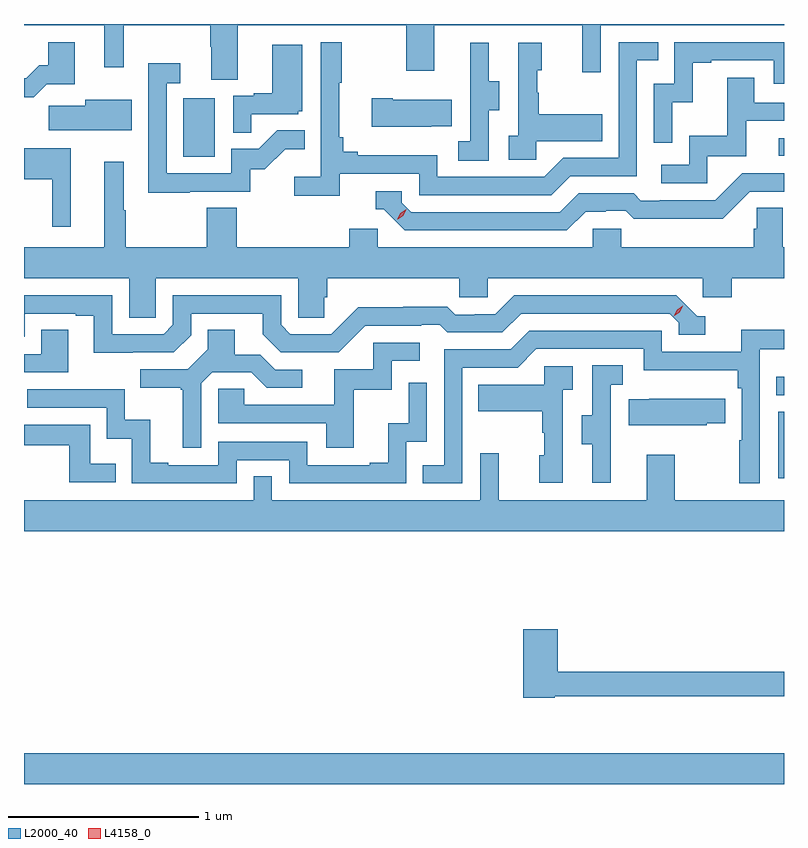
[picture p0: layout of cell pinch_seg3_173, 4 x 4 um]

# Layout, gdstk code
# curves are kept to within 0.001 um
import gdstk
lib = gdstk.Library(unit=1e-6, precision=1e-09)
def R(c, l, rs):  # rectangles x0, y0, x1, y1
    for r in rs: c.add(gdstk.rectangle(r[:2], r[2:], *l))
def P(c, l, *ps):  # polygons
    for p in ps: c.add(gdstk.Polygon(p, *l))
L2000_40 = (2000, 40)
L4158_0 = (4158, 0)

pinch_seg3_173 = lib.new_cell('pinch_seg3_173')
R(pinch_seg3_173, L2000_40, [(997.203,732.887,1001.203,733.048), (1001.174,734.496,1001.203,734.847), (1001.161,734.932,1001.203,735.031), (998.042,736.188,998.206,736.495), (1001.175,736.194,1001.203,736.287)])
P(pinch_seg3_173, L2000_40, [(998.329,736.88),(999.214,736.88),(999.214,736.641),(999.361,736.641),(999.361,736.88),(1000.142,736.88),(1000.142,736.632),(1000.239,736.632),(1000.239,736.88),(1001.203,736.88),(1001.203,736.887),(997.203,736.887),(997.203,736.88),(997.625,736.88),(997.625,736.659),(997.729,736.659),(997.729,736.88),(998.182,736.88),(998.182,736.768),(998.189,736.768),(998.189,736.594),(998.329,736.594)],
  [(997.322,736.571),(997.471,736.571),(997.471,736.792),(997.331,736.792),(997.331,736.669),(997.282,736.669),(997.215,736.602),(997.203,736.602),(997.203,736.502),(997.253,736.502)],
  [(998.864,736.098),(999.282,736.098),(999.282,735.987),(999.979,735.987),(1000.078,736.086),(1000.428,736.086),(1000.428,736.695),(1000.541,736.695),(1000.541,736.791),(1000.332,736.791),(1000.332,736.182),(1000.041,736.182),(999.942,736.083),(999.378,736.083),(999.378,736.195),(998.959,736.195),(998.959,736.214),(998.882,736.214),(998.882,736.291),(998.863,736.291),(998.863,736.579),(998.875,736.579),(998.875,736.792),(998.766,736.792),(998.766,736.084),(998.625,736.084),(998.625,735.982),(998.864,735.982)],
  [(1000.614,736.475),(1000.724,736.475),(1000.724,736.683),(1000.819,736.683),(1000.819,736.695),(1001.148,736.695),(1001.148,736.572),(1001.203,736.572),(1001.203,736.791),(1000.626,736.791),(1000.626,736.572),(1000.518,736.572),(1000.518,736.263),(1000.614,736.263)],
  [(999.648,736.432),(999.703,736.432),(999.703,736.587),(999.649,736.587),(999.649,736.789),(999.551,736.789),(999.551,736.575),(999.552,736.575),(999.552,736.271),(999.489,736.271),(999.489,736.168),(999.648,736.168)],
  [(999.9,736.271),(1000.247,736.271),(1000.247,736.411),(999.913,736.411),(999.913,736.526),(999.903,736.526),(999.903,736.644),(999.928,736.644),(999.928,736.789),(999.804,736.789),(999.804,736.298),(999.753,736.298),(999.753,736.173),(999.9,736.173)],
  [(998.399,736.413),(998.646,736.413),(998.646,736.428),(998.668,736.428),(998.668,736.777),(998.51,736.777),(998.51,736.522),(998.411,736.522),(998.411,736.509),(998.304,736.509),(998.304,736.315),(998.399,736.315)],
  [(998.075,736.005),(998.394,736.005),(998.394,736.122),(998.47,736.122),(998.577,736.229),(998.681,736.229),(998.681,736.328),(998.537,736.328),(998.439,736.23),(998.295,736.23),(998.295,736.101),(997.953,736.101),(997.953,736.575),(998.026,736.575),(998.026,736.681),(997.857,736.681),(997.857,736),(998.075,736)],
  [(1000.8,736.191),(1001.005,736.191),(1001.005,736.377),(1001.203,736.377),(1001.203,736.473),(1001.047,736.473),(1001.047,736.603),(1000.903,736.603),(1000.903,736.3),(1000.704,736.3),(1000.704,736.146),(1000.557,736.146),(1000.557,736.05),(1000.8,736.05)],
  [(999.347,736.349),(999.455,736.349),(999.455,736.489),(999.145,736.489),(999.145,736.497),(999.033,736.497),(999.033,736.346),(999.347,736.346)],
  [(997.771,736.489),(997.526,736.489),(997.526,736.457),(997.332,736.457),(997.332,736.328),(997.771,736.328)],
  [(997.45,736.234),(997.203,736.234),(997.203,736.07),(997.352,736.07),(997.352,735.819),(997.45,735.819)],
  [(997.896,735.548),(998.646,735.548),(998.646,735.34),(998.783,735.34),(998.783,735.45),(998.798,735.45),(998.798,735.548),(999.495,735.548),(999.495,735.45),(999.645,735.45),(999.645,735.548),(1000.776,735.548),(1000.776,735.45),(1000.928,735.45),(1000.928,735.548),(1001.203,735.548),(1001.203,735.712),(1001.196,735.712),(1001.196,735.92),(1001.059,735.92),(1001.059,735.81),(1001.045,735.81),(1001.045,735.712),(1000.347,735.712),(1000.347,735.81),(1000.197,735.81),(1000.197,735.712),(999.066,735.712),(999.066,735.81),(998.915,735.81),(998.915,735.712),(998.324,735.712),(998.324,735.92),(998.164,735.92),(998.164,735.712),(997.739,735.712),(997.739,735.908),(997.729,735.908),(997.729,736.162),(997.625,736.162),(997.625,735.712),(997.203,735.712),(997.203,735.548),(997.757,735.548),(997.757,735.34),(997.896,735.34)],
  [(1000.159,735.9),(1000.266,735.9),(1000.266,735.903),(1000.369,735.903),(1000.411,735.861),(1000.644,735.861),(1000.644,735.863),(1000.88,735.863),(1001.022,736.005),(1001.203,736.005),(1001.203,736.101),(1000.983,736.101),(1000.842,735.96),(1000.549,735.96),(1000.549,735.957),(1000.45,735.957),(1000.411,735.996),(1000.122,735.996),(1000.023,735.897),(999.24,735.897),(999.192,735.945),(999.192,736.008),(999.053,736.008),(999.053,735.912),(999.096,735.912),(999.207,735.801),(1000.06,735.801)],
  [(997.776,735.159),(997.992,735.159),(998.082,735.249),(998.082,735.363),(998.459,735.363),(998.459,735.253),(998.553,735.159),(998.859,735.159),(999,735.3),(999.293,735.3),(999.293,735.303),(999.392,735.303),(999.431,735.264),(999.72,735.264),(999.819,735.363),(1000.602,735.363),(1000.65,735.315),(1000.65,735.252),(1000.789,735.252),(1000.789,735.348),(1000.746,735.348),(1000.635,735.459),(999.782,735.459),(999.683,735.36),(999.576,735.36),(999.576,735.357),(999.473,735.357),(999.431,735.4),(999.198,735.4),(999.198,735.397),(998.962,735.397),(998.82,735.255),(998.604,735.255),(998.556,735.303),(998.556,735.459),(997.986,735.459),(997.986,735.303),(997.938,735.255),(997.668,735.255),(997.668,735.459),(997.203,735.459),(997.203,735.24),(997.206,735.24),(997.206,735.363),(997.475,735.363),(997.475,735.351),(997.571,735.351),(997.571,735.158)],
  [(998.136,734.997),(998.193,735.054),(998.399,735.054),(998.48,734.973),(998.668,734.973),(998.668,735.066),(998.526,735.066),(998.446,735.146),(998.311,735.146),(998.311,735.278),(998.171,735.278),(998.171,735.176),(998.064,735.069),(997.815,735.069),(997.815,734.972),(998.028,734.972),(998.028,734.961),(998.039,734.961),(998.039,734.658),(998.136,734.658)],
  [(997.435,735.278),(997.295,735.278),(997.295,735.15),(997.203,735.15),(997.203,735.054),(997.435,735.054)],
  [(999.51,735.078),(999.801,735.078),(999.9,735.177),(1000.464,735.177),(1000.464,735.065),(1000.96,735.065),(1000.96,734.969),(1000.98,734.969),(1000.98,734.696),(1000.968,734.696),(1000.968,734.469),(1001.076,734.469),(1001.076,735.176),(1001.203,735.176),(1001.203,735.278),(1000.979,735.278),(1000.979,735.162),(1000.56,735.162),(1000.56,735.273),(999.863,735.273),(999.764,735.174),(999.414,735.174),(999.414,734.565),(999.301,734.565),(999.301,734.469),(999.51,734.469)],
  [(998.939,734.961),(999.138,734.961),(999.138,735.114),(999.286,735.114),(999.286,735.21),(999.042,735.21),(999.042,735.069),(998.837,735.069),(998.837,734.883),(998.363,734.883),(998.363,734.967),(998.226,734.967),(998.226,734.787),(998.795,734.787),(998.795,734.658),(998.939,734.658)],
  [(1000.292,734.685),(1000.29,734.685),(1000.29,734.989),(1000.354,734.989),(1000.354,735.092),(1000.194,735.092),(1000.194,734.829),(1000.139,734.829),(1000.139,734.674),(1000.193,734.674),(1000.193,734.472),(1000.292,734.472)],
  [(1000.038,734.963),(1000.09,734.963),(1000.09,735.087),(999.942,735.087),(999.942,734.989),(999.595,734.989),(999.595,734.849),(999.93,734.849),(999.93,734.735),(999.94,734.735),(999.94,734.616),(999.914,734.616),(999.914,734.472),(1000.038,734.472)],
  [(998.322,734.592),(998.598,734.592),(998.598,734.469),(999.216,734.469),(999.216,734.688),(999.324,734.688),(999.324,734.998),(999.228,734.998),(999.228,734.786),(999.119,734.786),(999.119,734.578),(999.023,734.578),(999.023,734.565),(998.694,734.565),(998.694,734.688),(998.226,734.688),(998.226,734.565),(997.963,734.565),(997.963,734.578),(997.867,734.578),(997.867,734.803),(997.734,734.803),(997.734,734.964),(997.219,734.964),(997.219,734.868),(997.638,734.868),(997.638,734.705),(997.77,734.705),(997.77,734.469),(998.322,734.469)],
  [(1000.797,734.785),(1000.895,734.785),(1000.895,734.914),(1000.495,734.914),(1000.495,734.911),(1000.387,734.911),(1000.387,734.774),(1000.797,734.774)],
  [(997.685,734.572),(997.551,734.572),(997.551,734.778),(997.203,734.778),(997.203,734.67),(997.44,734.67),(997.44,734.475),(997.685,734.475)],
  [(1001.203,734.38),(1000.629,734.38),(1000.629,734.62),(1000.481,734.62),(1000.481,734.38),(999.701,734.38),(999.701,734.629),(999.603,734.629),(999.603,734.38),(998.508,734.38),(998.508,734.507),(998.412,734.507),(998.412,734.38),(997.203,734.38),(997.203,734.216),(1001.203,734.216)],
  [(999.996,733.35),(1001.203,733.35),(1001.203,733.478),(1000.013,733.478),(1000.013,733.702),(999.83,733.702),(999.83,733.342),(999.996,733.342)])
P(pinch_seg3_173, L4158_0, [(999.168,735.859),(999.168,735.859),(999.184,735.892),(999.215,735.912),(999.215,735.912),(999.215,735.912),(999.199,735.879),(999.169,735.859)],
  [(1000.624,735.35),(1000.624,735.35),(1000.64,735.384),(1000.67,735.404),(1000.67,735.404),(1000.67,735.403),(1000.655,735.37),(1000.624,735.35)])

lib.write_gds('pinch_seg3_173.gds')
